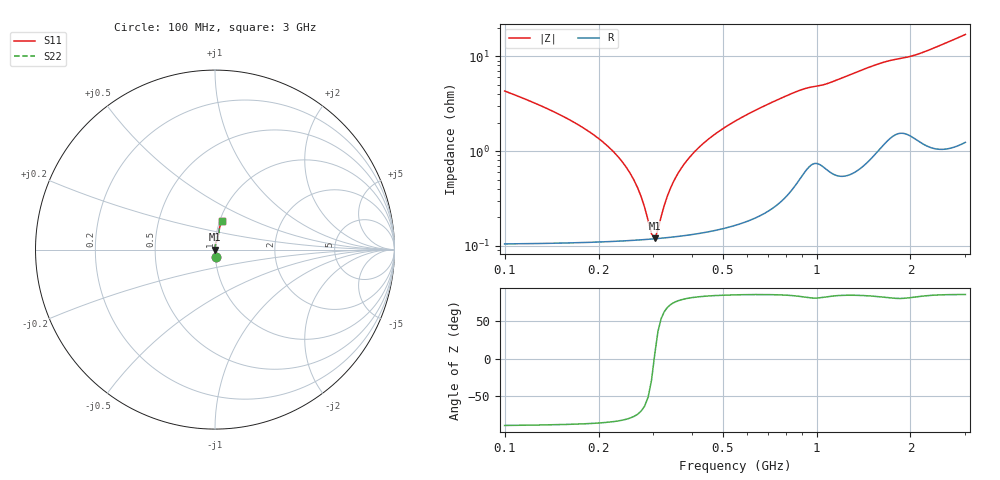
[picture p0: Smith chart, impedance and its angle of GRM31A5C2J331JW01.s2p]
!Murata Part Number: GRM31A5C2J331JW01
!These Parameters are Measured in Series Mode Connection
!Data Generated on Mar 30, 2021
!  o--ll--o
!Port1  Port2
!  o------o
!Operation Temp=25[degC], DC Bias Voltage=0[V]
!Freq. Start=100[MHz] Stop=3[GHz] 401[Steps]
# Hz S RI R 50
!Freq.(Hz) S11(Real) S11(Imag) S21(Real) S21(Imag) S12(Real) S12(Imag) S22(Real) S22(Imag)
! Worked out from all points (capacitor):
!   401 points, 100 MHz to 3 GHz, reference 50 ohm
!   read as one part in series: C = 330 pF near 114.5 MHz
!   lowest |Z| = 120 mohm at 303 MHz (marker M1)
!   series resonance near 301.7 MHz, so ESL is about 840 pH
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1e8  0.00289 -0.0428  0.9971 0.0428  0.9971 0.0428  0.00289 -0.0428
1.7975e8  0.00139 -0.0173  0.9986 0.0173  0.9986 0.0173  0.00139 -0.0173
2.305e8  0.0012 -0.00871  0.9988 0.00871  0.9988 0.00871  0.0012 -0.00871
2.595e8  0.00117 -0.00484  0.9988 0.00484  0.9988 0.00484  0.00117 -0.00484
2.885e8  0.00118 -0.00143  0.9988 0.00143  0.9988 0.00143  0.00118 -0.00143
2.9575e8  0.00118 -0.000637  0.9988 0.000637  0.9988 0.000637  0.00118 -0.000637
3.03e8  0.00119 0.000139  0.9988 -0.000139  0.9988 -0.000139  0.00119 0.000139
3.1025e8  0.0012 0.000897  0.9988 -0.000897  0.9988 -0.000897  0.0012 0.000897
3.3925e8  0.00125 0.00377  0.9988 -0.00377  0.9988 -0.00377  0.00125 0.00377
3.5375e8  0.00128 0.00513  0.9987 -0.00513  0.9987 -0.00513  0.00128 0.00513
3.755e8  0.00133 0.00709  0.9987 -0.00709  0.9987 -0.00709  0.00133 0.00709
3.9725e8  0.0014 0.00896  0.9986 -0.00896  0.9986 -0.00896  0.0014 0.00896
4.335e8  0.00152 0.0119  0.9985 -0.0119  0.9985 -0.0119  0.00152 0.0119
4.77e8  0.0017 0.0153  0.9983 -0.0153  0.9983 -0.0153  0.0017 0.0153
5.8575e8  0.00231 0.0232  0.9977 -0.0232  0.9977 -0.0232  0.00231 0.0232
7.0175e8  0.00331 0.0312  0.9967 -0.0312  0.9967 -0.0312  0.00331 0.0312
8.395e8  0.00563 0.0403  0.9944 -0.0403  0.9944 -0.0403  0.00563 0.0403
1.0715e9  0.00892 0.0497  0.9911 -0.0497  0.9911 -0.0497  0.00892 0.0497
1.55e9  0.0156 0.0787  0.9844 -0.0787  0.9844 -0.0787  0.0156 0.0787
2.03575e9  0.0233 0.0966  0.9767 -0.0966  0.9767 -0.0966  0.0233 0.0966
2.5215e9  0.0269 0.1269  0.9731 -0.1269  0.9731 -0.1269  0.0269 0.1269
3e9  0.039 0.1603  0.961 -0.1603  0.961 -0.1603  0.039 0.1603
